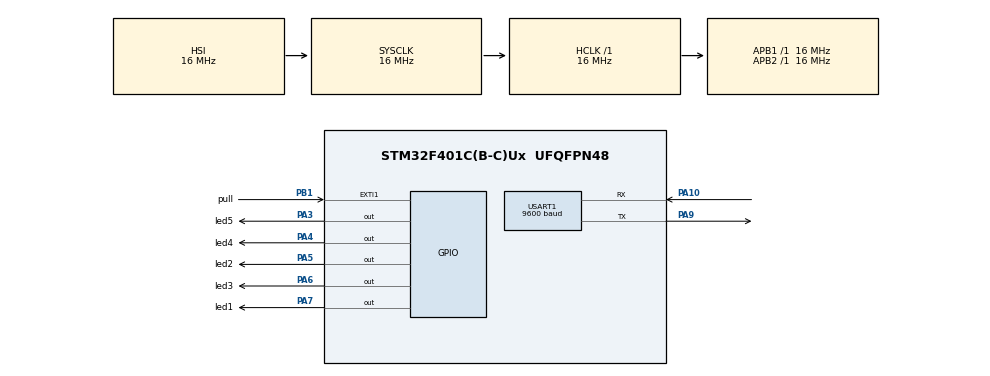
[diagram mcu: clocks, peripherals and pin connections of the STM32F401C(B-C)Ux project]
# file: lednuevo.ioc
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Dma.Request0=USART1_RX
Dma.USART1_RX.0.Direction=DMA_PERIPH_TO_MEMORY
Dma.USART1_RX.0.FIFOMode=DMA_FIFOMODE_DISABLE
Dma.USART1_RX.0.Instance=DMA2_Stream2
Dma.USART1_RX.0.MemDataAlignment=DMA_MDATAALIGN_BYTE
Dma.USART1_RX.0.MemInc=DMA_MINC_ENABLE
Dma.USART1_RX.0.Mode=DMA_NORMAL
Dma.USART1_RX.0.PeriphDataAlignment=DMA_PDATAALIGN_BYTE
Dma.USART1_RX.0.PeriphInc=DMA_PINC_DISABLE
Dma.USART1_RX.0.Priority=DMA_PRIORITY_LOW
Mcu.Family=STM32F4
Mcu.Name=STM32F401C(B-C)Ux
Mcu.Package=UFQFPN48
NVIC.DMA2_Stream2_IRQn=true\:0\:0\:false\:false\:true\:false\:true\:true
NVIC.EXTI1_IRQn=true\:0\:0\:false\:false\:true\:true\:true\:true
NVIC.PriorityGroup=NVIC_PRIORITYGROUP_2
NVIC.TIM1_CC_IRQn=true\:1\:0\:true\:false\:true\:true\:true\:true
NVIC.TIM1_UP_TIM10_IRQn=true\:0\:0\:false\:false\:true\:true\:true\:true
NVIC.TIM2_IRQn=true\:1\:0\:true\:false\:true\:true\:true\:true
NVIC.USART1_IRQn=true\:0\:0\:false\:false\:true\:true\:true\:true
PA10.Mode=Asynchronous
PA10.Signal=USART1_RX
PA3.GPIO_Label=led5
PA3.Signal=GPIO_Output
PA4.GPIO_Label=led4
PA4.Signal=GPIO_Output
PA5.GPIO_Label=led2
PA5.Signal=GPIO_Output
PA6.GPIO_Label=led3
PA6.Signal=GPIO_Output
PA7.GPIO_Label=led1
PA7.Signal=GPIO_Output
PA9.Mode=Asynchronous
PA9.Signal=USART1_TX
PB1.GPIO_Label=pull
PB1.GPIO_ModeDefaultEXTI=GPIO_MODE_IT_FALLING
PB1.GPIO_PuPd=GPIO_PULLUP
PB1.Signal=GPXTI1
ProjectManager.HeapSize=0x200
ProjectManager.StackSize=0x400
ProjectManager.TargetToolchain=CMake
RCC.AHBFreq_Value=16000000
RCC.APB1Freq_Value=16000000
RCC.APB2Freq_Value=16000000
RCC.CortexFreq_Value=16000000
RCC.HSE_VALUE=25000000
RCC.HSI_VALUE=16000000
RCC.LSE_VALUE=32768
RCC.SYSCLKFreq_VALUE=16000000
RCC.VCOOutputFreq_Value=192000000
TIM1.Period=100-1
TIM1.Prescaler=16000-1
TIM2.Period=1000-1
TIM2.Prescaler=16000-1
USART1.BaudRate=9600
USART1.VirtualMode=VM_ASYNC
VP_TIM1_VS_ClockSourceINT.Mode=Internal
VP_TIM2_VS_ClockSourceINT.Mode=Internal
board=custom

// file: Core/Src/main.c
/* USER CODE BEGIN Header */
/**
  ******************************************************************************
  * @file           : main.c
  * @brief          : Main program body
  ******************************************************************************
  * @attention
  *
  * Copyright (c) 2026 STMicroelectronics.
  * All rights reserved.
  *
  * This software is licensed under terms that can be found in the LICENSE file
  * in the root directory of this software component.
  * If no LICENSE file comes with this software, it is provided AS-IS.
  *
  ******************************************************************************
  */
/* USER CODE END Header */
#include "main.h"

/* USER CODE BEGIN Includes */
#include "stdio.h"
#include "string.h"
#include "stdlib.h"
#include "stdbool.h"
#include "math.h"
#include "stdint.h"
#include "uart.h"
#include "UARTRX.h"

/* USER CODE END Includes */

TIM_HandleTypeDef htim1;
TIM_HandleTypeDef htim2;

UART_HandleTypeDef huart1;
DMA_HandleTypeDef hdma_usart1_rx;

void SystemClock_Config(void);
static void MX_GPIO_Init(void);
static void MX_DMA_Init(void);
static void MX_TIM1_Init(void);
static void MX_TIM2_Init(void);
static void MX_USART1_UART_Init(void);

/* USER CODE BEGIN 0 */
void procesa_rx()
{
  if(strstr(UARTRX1.trama_rx,"led5=on*")){
    HAL_GPIO_WritePin(led5_GPIO_Port, led5_Pin, GPIO_PIN_SET);
  }
  else if(strstr(UARTRX1.trama_rx,"led5=off*")){
    HAL_GPIO_WritePin(led5_GPIO_Port, led5_Pin, GPIO_PIN_RESET);
  }
}
/* USER CODE END 0 */

int main(void)
{

  /* MCU Configuration--------------------------------------------------------*/

  /* Reset of all peripherals, Initializes the Flash interface and the Systick. */
  HAL_Init();

  /* Configure the system clock */
  SystemClock_Config();

  /* Initialize all configured peripherals */
  MX_GPIO_Init();
  MX_DMA_Init();
  MX_TIM1_Init();
  MX_TIM2_Init();
  MX_USART1_UART_Init();
  /* USER CODE BEGIN 2 */
HAL_TIM_Base_Start_IT(&htim1);
//metodo3
HAL_TIM_Base_Start_IT(&htim2);

uartRX_it_idle_dma_init( &UARTRX1);

uartx_write_text(&huart1, "inicia\r\n");
  /* USER CODE END 2 */

  /* Infinite loop */
  /* USER CODE BEGIN WHILE */
  while (1)
  {

    HAL_GPIO_TogglePin(led3_GPIO_Port, led3_Pin);
    HAL_Delay(100);

    if (UARTRX1.flag_rx==1)
	  {
	    uartx_write_text(&huart1, UARTRX1.trama_rx);
	    procesa_rx(); //procedimeinto donde se procesan los datos
		  uartRX_DMA_Re_init(&UARTRX1);
	  }
    /* USER CODE END WHILE */

  }
}

void SystemClock_Config(void)
{
  RCC_OscInitTypeDef RCC_OscInitStruct = {0};
  RCC_ClkInitTypeDef RCC_ClkInitStruct = {0};

  /** Configure the main internal regulator output voltage
  */
  __HAL_RCC_PWR_CLK_ENABLE();
  __HAL_PWR_VOLTAGESCALING_CONFIG(PWR_REGULATOR_VOLTAGE_SCALE2);

  /** Initializes the RCC Oscillators according to the specified parameters
  * in the RCC_OscInitTypeDef structure.
  */
  RCC_OscInitStruct.OscillatorType = RCC_OSCILLATORTYPE_HSI;
  RCC_OscInitStruct.HSIState = RCC_HSI_ON;
  RCC_OscInitStruct.HSICalibrationValue = RCC_HSICALIBRATION_DEFAULT;
  RCC_OscInitStruct.PLL.PLLState = RCC_PLL_NONE;
  if (HAL_RCC_OscConfig(&RCC_OscInitStruct) != HAL_OK)
  {
    Error_Handler();
  }

  /** Initializes the CPU, AHB and APB buses clocks
  */
  RCC_ClkInitStruct.ClockType = RCC_CLOCKTYPE_HCLK|RCC_CLOCKTYPE_SYSCLK
                              |RCC_CLOCKTYPE_PCLK1|RCC_CLOCKTYPE_PCLK2;
  RCC_ClkInitStruct.SYSCLKSource = RCC_SYSCLKSOURCE_HSI;
  RCC_ClkInitStruct.AHBCLKDivider = RCC_SYSCLK_DIV1;
  RCC_ClkInitStruct.APB1CLKDivider = RCC_HCLK_DIV1;
  RCC_ClkInitStruct.APB2CLKDivider = RCC_HCLK_DIV1;

  if (HAL_RCC_ClockConfig(&RCC_ClkInitStruct, FLASH_LATENCY_0) != HAL_OK)
  {
    Error_Handler();
  }
}

static void MX_TIM1_Init(void)
{

  TIM_ClockConfigTypeDef sClockSourceConfig = {0};
  TIM_MasterConfigTypeDef sMasterConfig = {0};

  htim1.Instance = TIM1;
  htim1.Init.Prescaler = 16000-1;
  htim1.Init.CounterMode = TIM_COUNTERMODE_UP;
  htim1.Init.Period = 100-1;
  htim1.Init.ClockDivision = TIM_CLOCKDIVISION_DIV1;
  htim1.Init.RepetitionCounter = 0;
  htim1.Init.AutoReloadPreload = TIM_AUTORELOAD_PRELOAD_DISABLE;
  if (HAL_TIM_Base_Init(&htim1) != HAL_OK)
  {
    Error_Handler();
  }
  sClockSourceConfig.ClockSource = TIM_CLOCKSOURCE_INTERNAL;
  if (HAL_TIM_ConfigClockSource(&htim1, &sClockSourceConfig) != HAL_OK)
  {
    Error_Handler();
  }
  sMasterConfig.MasterOutputTrigger = TIM_TRGO_RESET;
  sMasterConfig.MasterSlaveMode = TIM_MASTERSLAVEMODE_DISABLE;
  if (HAL_TIMEx_MasterConfigSynchronization(&htim1, &sMasterConfig) != HAL_OK)
  {
    Error_Handler();
  }

}

static void MX_TIM2_Init(void)
{

  TIM_ClockConfigTypeDef sClockSourceConfig = {0};
  TIM_MasterConfigTypeDef sMasterConfig = {0};

  htim2.Instance = TIM2;
  htim2.Init.Prescaler = 16000-1;
  htim2.Init.CounterMode = TIM_COUNTERMODE_UP;
  htim2.Init.Period = 1000-1;
  htim2.Init.ClockDivision = TIM_CLOCKDIVISION_DIV1;
  htim2.Init.AutoReloadPreload = TIM_AUTORELOAD_PRELOAD_DISABLE;
  if (HAL_TIM_Base_Init(&htim2) != HAL_OK)
  {
    Error_Handler();
  }
  sClockSourceConfig.ClockSource = TIM_CLOCKSOURCE_INTERNAL;
  if (HAL_TIM_ConfigClockSource(&htim2, &sClockSourceConfig) != HAL_OK)
  {
    Error_Handler();
  }
  sMasterConfig.MasterOutputTrigger = TIM_TRGO_RESET;
  sMasterConfig.MasterSlaveMode = TIM_MASTERSLAVEMODE_DISABLE;
  if (HAL_TIMEx_MasterConfigSynchronization(&htim2, &sMasterConfig) != HAL_OK)
  {
    Error_Handler();
  }

}

static void MX_USART1_UART_Init(void)
{

  huart1.Instance = USART1;
  huart1.Init.BaudRate = 9600;
  huart1.Init.WordLength = UART_WORDLENGTH_8B;
  huart1.Init.StopBits = UART_STOPBITS_1;
  huart1.Init.Parity = UART_PARITY_NONE;
  huart1.Init.Mode = UART_MODE_TX_RX;
  huart1.Init.HwFlowCtl = UART_HWCONTROL_NONE;
  huart1.Init.OverSampling = UART_OVERSAMPLING_16;
  if (HAL_UART_Init(&huart1) != HAL_OK)
  {
    Error_Handler();
  }

}

static void MX_DMA_Init(void)
{

  /* DMA controller clock enable */
  __HAL_RCC_DMA2_CLK_ENABLE();

  /* DMA interrupt init */
  /* DMA2_Stream2_IRQn interrupt configuration */
  HAL_NVIC_SetPriority(DMA2_Stream2_IRQn, 0, 0);
  HAL_NVIC_EnableIRQ(DMA2_Stream2_IRQn);

}

static void MX_GPIO_Init(void)
{
  GPIO_InitTypeDef GPIO_InitStruct = {0};

  /* GPIO Ports Clock Enable */
  __HAL_RCC_GPIOA_CLK_ENABLE();
  __HAL_RCC_GPIOB_CLK_ENABLE();

  /*Configure GPIO pin Output Level */
  HAL_GPIO_WritePin(GPIOA, led5_Pin|led4_Pin|led2_Pin|led3_Pin
                          |led1_Pin, GPIO_PIN_RESET);

  /*Configure GPIO pins : led5_Pin led4_Pin led2_Pin led3_Pin
                           led1_Pin */
  GPIO_InitStruct.Pin = led5_Pin|led4_Pin|led2_Pin|led3_Pin
                          |led1_Pin;
  GPIO_InitStruct.Mode = GPIO_MODE_OUTPUT_PP;
  GPIO_InitStruct.Pull = GPIO_NOPULL;
  GPIO_InitStruct.Speed = GPIO_SPEED_FREQ_LOW;
  HAL_GPIO_Init(GPIOA, &GPIO_InitStruct);

  /*Configure GPIO pin : pull_Pin */
  GPIO_InitStruct.Pin = pull_Pin;
  GPIO_InitStruct.Mode = GPIO_MODE_IT_FALLING;
  GPIO_InitStruct.Pull = GPIO_PULLUP;
  HAL_GPIO_Init(pull_GPIO_Port, &GPIO_InitStruct);

  /* EXTI interrupt init*/
  HAL_NVIC_SetPriority(EXTI1_IRQn, 0, 0);
  HAL_NVIC_EnableIRQ(EXTI1_IRQn);

}

/* USER CODE BEGIN 4 */
//metodo2
/*void HAL_TIM_PeriodElapsedCallback(TIM_HandleTypeDef *htim)
{
    static uint8_t ticks = 0;
    if (htim->Instance == TIM1) {
        HAL_GPIO_TogglePin(led2_GPIO_Port, led2_Pin);       // 100 ms
        if (++ticks >= 10) {
            ticks = 0;
            HAL_GPIO_TogglePin(led1_GPIO_Port, led1_Pin);   // 1 s
        }
    }
}*/
/* USER CODE END 4 */

void Error_Handler(void)
{
  __disable_irq();
  while (1)
  {
  }
}
